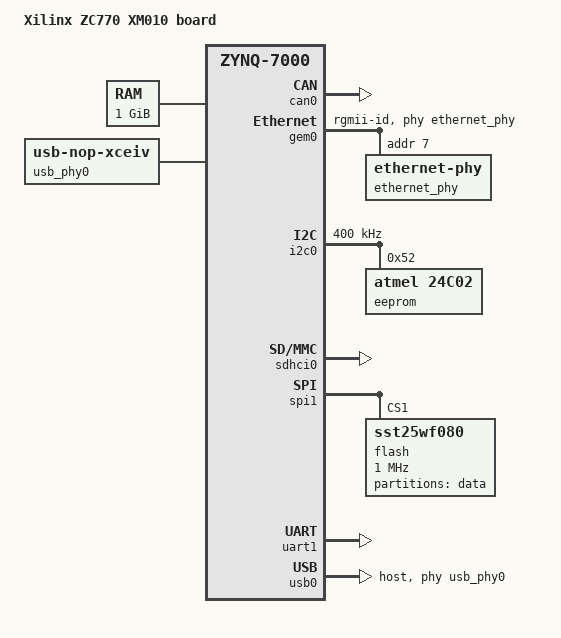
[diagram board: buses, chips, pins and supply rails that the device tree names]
// SPDX-License-Identifier: GPL-2.0+
/*
 * Xilinx ZC770 XM010 board DTS
 *
 * Copyright (C) 2013-2018 Xilinx, Inc.
 */
/dts-v1/;
#include "zynq-7000.dtsi"

/ {
	model = "Xilinx ZC770 XM010 board";
	compatible = "xlnx,zynq-zc770-xm010", "xlnx,zynq-7000";

	aliases {
		ethernet0 = &gem0;
		i2c0 = &i2c0;
		serial0 = &uart1;
		spi1 = &spi1;
	};

	chosen {
		bootargs = "";
		stdout-path = "serial0:115200n8";
	};

	memory@0 {
		device_type = "memory";
		reg = <0x0 0x40000000>;
	};

	usb_phy0: phy0 {
		compatible = "usb-nop-xceiv";
		#phy-cells = <0>;
	};
};

&can0 {
	status = "okay";
};

&gem0 {
	status = "okay";
	phy-mode = "rgmii-id";
	phy-handle = <&ethernet_phy>;

	ethernet_phy: ethernet-phy@7 {
		reg = <7>;
		device_type = "ethernet-phy";
	};
};

&i2c0 {
	status = "okay";
	clock-frequency = <400000>;

	eeprom: eeprom@52 {
		compatible = "atmel,24c02";
		reg = <0x52>;
	};

};

&sdhci0 {
	status = "okay";
};

&spi1 {
	status = "okay";
	num-cs = <4>;
	is-decoded-cs = <0>;
	flash@0 {
		compatible = "sst25wf080", "jedec,spi-nor";
		reg = <1>;
		spi-max-frequency = <1000000>;
		partitions {
			compatible = "fixed-partitions";
			#address-cells = <1>;
			#size-cells = <1>;
			partition@0 {
				label = "data";
				reg = <0x0 0x100000>;
			};
		};
	};
};

&uart1 {
	status = "okay";
};

&usb0 {
	status = "okay";
	dr_mode = "host";
	usb-phy = <&usb_phy0>;
};
